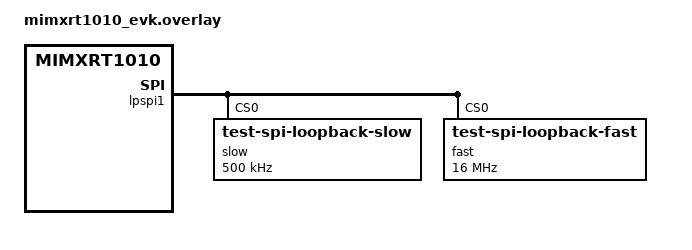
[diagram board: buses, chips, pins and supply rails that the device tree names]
/*
 * Copyright 2024 NXP
 *
 * SPDX-License-Identifier: Apache-2.0
 *
 */

tst_dma0: &edma0 {};

&lpspi1 {
	slow@0 {
		compatible = "test-spi-loopback-slow";
		reg = <0>;
		spi-max-frequency = <500000>;
	};
	fast@0 {
		compatible = "test-spi-loopback-fast";
		reg = <0>;
		spi-max-frequency = <16000000>;
	};
	transfer-delay = <100>;
	pcs-sck-delay = <100>;
	sck-pcs-delay = <100>;
};
